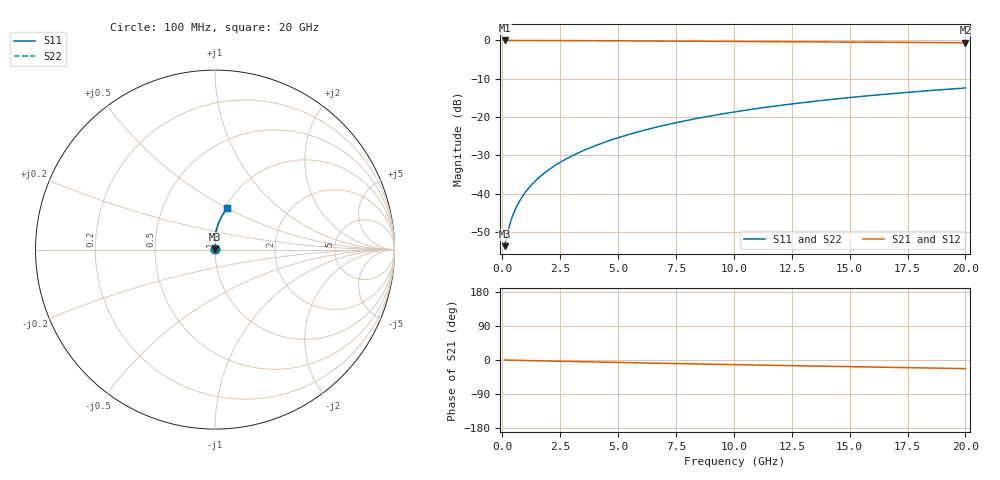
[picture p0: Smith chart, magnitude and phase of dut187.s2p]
! Touchstone file exported from HFSS 2024.1.0
!  File:  C:/UserFiles/LocalFiles/RDL_TSV_Batchsim/temp_RDL_bottom_187_1778698980.aedt
!  Generated:  03:05:41 AM May 14, 2026
!  Design:  RDL_bottom
!  Project:  temp_RDL_bottom_187_1778698980
!  Setup:  Setup1
!  Solution:  Sweep
! Variables:
!  dtsv = 10.80580581um
!  hbump = 3um
!  htsv = 72.35um
!  ldown = 281.11um
!  lrdl = 100um
!  p = 40
!  p1 = 55.65um
!  rhole = 1um
!  t = 450um
!  tdown = 2.72um
!  trdl = 3.915915916um
!  wdown = 25.61um
!  wrdl = 20um
# GHz S MA R 50.000000
! Terminal data exported
! Port[1] = RDL1_T1
! Port[2] = RDL1_T2
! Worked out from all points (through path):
!   200 points, 100 MHz to 20 GHz, reference 50 ohm
!   highest |S21| = -0.02 dB at 100 MHz (marker M1); lowest = -0.6 dB at 20 GHz (marker M2)
!   group delay of S21, straight-line fit = 3.13 ps
!   lowest |S11| = -53.7 dB at 100 MHz (marker M3), VSWR 1.00, Z = 50.2 + j0.112 ohm
!   |S11| at or under -10 dB: start of sweep to end of sweep
!   |S22| runs from -53.7 to -12.4 dB; largest |S21 - S12| = 3.5e-15
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0.1  0.002065 32.6  0.9983 -0.1  0.9983 -0.1  0.002065 32.6
! Gamma 0 0 0 0
! Port Impedance 50 0 50 0
0.2  0.002842 50.8  0.9982 -0.3  0.9982 -0.3  0.002842 50.8
0.3  0.003756 60.2  0.9981 -0.4  0.9981 -0.4  0.003755 60.2
0.4  0.004702 65.8  0.998 -0.6  0.998 -0.6  0.004702 65.8
0.5  0.005654 69.5  0.9979 -0.7  0.9979 -0.7  0.005654 69.4
0.6  0.006608 72.2  0.9977 -0.8  0.9977 -0.8  0.006607 72.2
0.8  0.008522 76.0  0.9975 -1.1  0.9975 -1.1  0.008521 76.0
1.1  0.01143 79.7  0.9972 -1.5  0.9972 -1.5  0.01143 79.7
1.3  0.0134 81.4  0.9969 -1.8  0.9969 -1.8  0.0134 81.4
1.6  0.01639 83.3  0.9965 -2.1  0.9965 -2.1  0.01639 83.3
2.1  0.02148 85.4  0.9957 -2.8  0.9957 -2.8  0.02148 85.4
2.7  0.02778 87.0  0.9944 -3.6  0.9944 -3.6  0.02778 87.0
3.5  0.03647 88.3  0.9923 -4.6  0.9923 -4.6  0.03647 88.3
4.2  0.04437 88.8  0.9902 -5.5  0.9902 -5.5  0.04437 88.8
5  0.05369 89.0  0.9877 -6.5  0.9877 -6.5  0.05369 89.1
5.9  0.0645 88.9  0.9845 -7.6  0.9845 -7.6  0.06451 88.9
6.8  0.0756 88.4  0.9813 -8.6  0.9813 -8.6  0.0756 88.5
8.4  0.09578 87.1  0.9754 -10.5  0.9754 -10.5  0.09578 87.2
10.1  0.1175 85.4  0.9691 -12.4  0.9691 -12.4  0.1175 85.4
13.4  0.1595 81.4  0.9569 -15.9  0.9569 -15.9  0.1595 81.4
16.7  0.2003 77.3  0.9447 -19.4  0.9447 -19.4  0.2004 77.4
20  0.2394 73.4  0.9322 -22.8  0.9322 -22.8  0.2394 73.4
